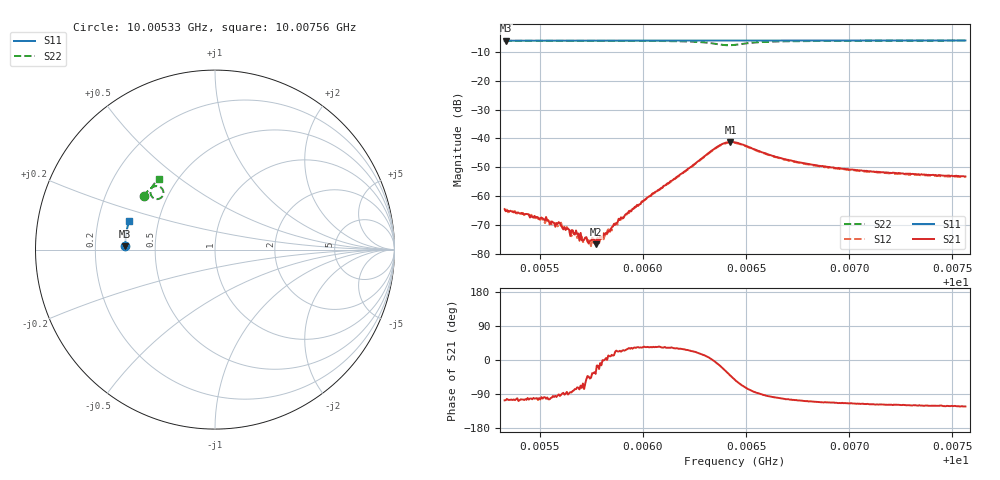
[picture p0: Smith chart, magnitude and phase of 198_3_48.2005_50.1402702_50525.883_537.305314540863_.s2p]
#  HZ  S  RI  R  50.00
! Rohde & Schwarz Vector Network Analyzer
! Rohde-Schwarz,ZNB20-2Port,1311601062101988,3.16
! Created: UTC 3/20/2024, 11:44:55 AM
! freq[Hz]  re:S11  im:S11  re:S21  im:S21  re:S12  im:S12  re:S22  im:S22
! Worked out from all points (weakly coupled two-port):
!   401 points, 10.00533 GHz to 10.00756 GHz, reference 50 ohm
!   highest |S21| = -41.22 dB at 10.00642 GHz (marker M1); lowest = -76.8 dB at 10.00577 GHz (marker M2)
!   lowest |S11| = -6.0 dB at 10.00534 GHz (marker M3), VSWR 3.00, Z = 16.7 + j0.862 ohm
!   |S11| at or under -10 dB: nowhere
!   |S22| runs from -7.6 to -6.0 dB; largest |S21 - S12| = 0.00051
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1.0005331e10  -0.5001 0.019  -0.000168 -0.000568  -0.000127 -0.00055  -0.3967 0.2974
1.0005336e10  -0.5 0.0194  -0.000149 -0.000524  -0.000124 -0.000558  -0.3966 0.2978
1.0005459e10  -0.4999 0.0274  -9.12e-05 -0.000444  -9.48e-05 -0.000464  -0.3914 0.3052
1.0005537e10  -0.4998 0.0324  -5.8e-05 -0.000372  -1.34e-05 -0.000374  -0.388 0.3097
1.0005593e10  -0.4995 0.0362  -4.4e-06 -0.000352  -3.96e-05 -0.000319  -0.3854 0.3132
1.0005637e10  -0.4995 0.0392  -4.27e-06 -0.00027  2.67e-05 -0.000266  -0.3832 0.3159
1.0005688e10  -0.4993 0.0423  6.59e-05 -0.000213  7.25e-05 -0.000207  -0.3807 0.319
1.0005704e10  -0.4993 0.0433  4.87e-05 -0.000164  7.27e-05 -0.000182  -0.3799 0.32
1.0005743e10  -0.4991 0.0459  0.000109 -0.000125  0.000127 -9.45e-05  -0.3777 0.3225
1.0005755e10  -0.4991 0.0466  0.000152 -0.000106  0.000135 -0.000131  -0.3772 0.3232
1.0005771e10  -0.4989 0.0478  0.000117 -8.64e-05  0.000151 -6.47e-05  -0.3763 0.3243
1.0005794e10  -0.4988 0.0492  0.000197 -2.79e-05  0.000192 -3.56e-05  -0.3751 0.3255
1.000581e10  -0.4987 0.0502  0.000226 -3.85e-06  0.000176 2.08e-05  -0.374 0.3267
1.0005928e10  -0.4982 0.0578  0.000441 0.00025  0.000418 0.000278  -0.3666 0.3345
1.0006078e10  -0.4971 0.0676  0.00105 0.00075  0.00101 0.000772  -0.3535 0.3451
1.0006357e10  -0.4944 0.0855  0.007 -0.000926  0.00691 -0.000588  -0.2893 0.3293
1.0006424e10  -0.4938 0.0892  0.00653 -0.00574  0.00666 -0.00526  -0.3016 0.2881
1.0006447e10  -0.4935 0.0906  0.00516 -0.00682  0.00543 -0.00638  -0.3157 0.282
1.0006636e10  -0.4923 0.1027  -0.000725 -0.00486  -0.000483 -0.00479  -0.3595 0.3226
1.000682e10  -0.4902 0.1145  -0.00118 -0.00331  -0.000986 -0.0033  -0.3521 0.3469
1.0007194e10  -0.4849 0.138  -0.00118 -0.00223  -0.00107 -0.00223  -0.3323 0.3735
1.0007563e10  -0.4785 0.161  -0.00118 -0.00185  -0.00104 -0.00185  -0.3133 0.3925
